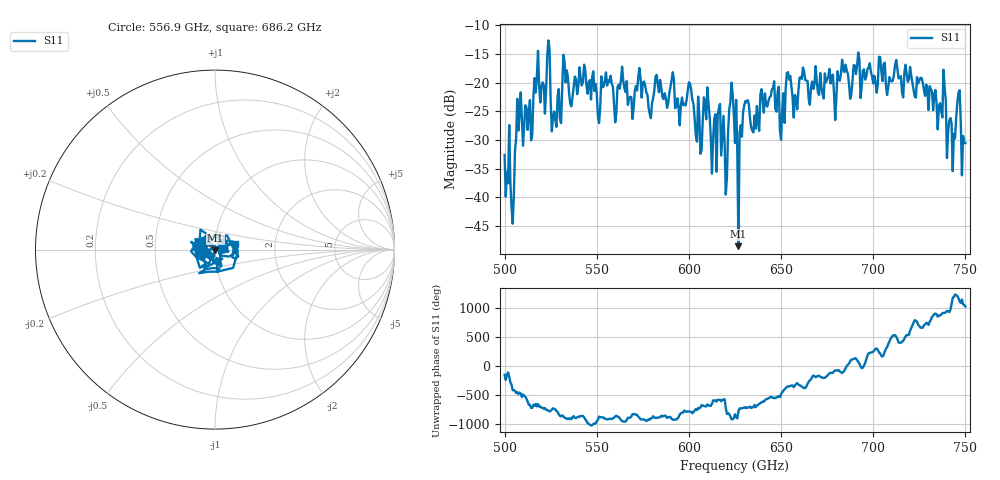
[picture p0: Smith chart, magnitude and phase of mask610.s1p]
!Created with skrf (http://scikit-rf.org).
# GHz S MA R 50.0
!freq magS11 angS11
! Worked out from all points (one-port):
!   401 points, 500 GHz to 750 GHz, reference 50 ohm
!   lowest |S11| = -48.5 dB at 626.9 GHz (marker M1), VSWR 1.01, Z = 50.2 - j0.325 ohm
!   |S11| at or under -10 dB: start of sweep to end of sweep
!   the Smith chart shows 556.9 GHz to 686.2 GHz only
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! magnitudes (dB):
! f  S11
! 500 GHz  -32.6
! 504.4 GHz  -44.6
! 507.5 GHz  -28.4
! 513.8 GHz  -23.0
! 517.5 GHz  -19.0
! 523.8 GHz  -12.7
! 526.9 GHz  -25.0
! 531.2 GHz  -21.0
! 562.5 GHz  -21.0
! 579.4 GHz  -26.2
! 590.6 GHz  -19.5
! 593.8 GHz  -22.7
! 600.6 GHz  -20.2
! 605.6 GHz  -25.8
! 609.4 GHz  -26.4
! 619.4 GHz  -30.6
! 622.5 GHz  -23.3
! 625 GHz  -30.5
! 626.9 GHz  -48.5
! 631.2 GHz  -23.4
! 635 GHz  -28.7
! 656.2 GHz  -22.6
! 687.5 GHz  -22.8
! 718.8 GHz  -19.9
! 738.1 GHz  -17.8
! 743.1 GHz  -35.4
! 746.2 GHz  -21.8
! 750 GHz  -30.5
